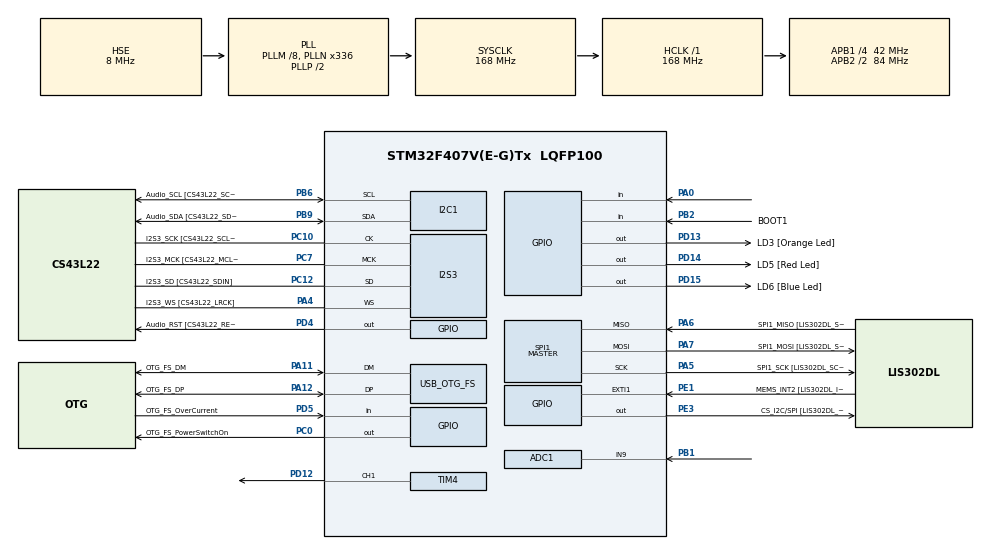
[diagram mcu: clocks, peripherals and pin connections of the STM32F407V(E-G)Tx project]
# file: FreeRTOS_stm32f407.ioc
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ADC1.Channel-0\#ChannelRegularConversion=ADC_CHANNEL_9
ADC1.Channel-1\#ChannelInjectedConversion=ADC_CHANNEL_9
ADC1.ContinuousConvMode=ENABLE
ADC1.InjNumberOfConversion=1
ADC1.InjectedOffset-1\#ChannelInjectedConversion=0
ADC1.InjectedRank-1\#ChannelInjectedConversion=1
ADC1.NbrOfConversionFlag=1
ADC1.Rank-0\#ChannelRegularConversion=1
ADC1.SamplingTime-0\#ChannelRegularConversion=ADC_SAMPLETIME_3CYCLES
ADC1.SamplingTime-1\#ChannelInjectedConversion=ADC_SAMPLETIME_3CYCLES
ADC1.master=1
FREERTOS.BinarySemaphores01=BtnSem,Static,BtnSemControlBlock
FREERTOS.Queues01=UARTQueue,10,QUEUE_t,0,Static,UARTQueueBuffer,UARTQueueControlBlock
FREERTOS.Tasks01=defaultTask,24,128,StartDefaultTask,Default,NULL,Static,defaultTaskBuffer,defaultTaskControlBlock;LED_BLUE_BLINK,24,128,StartLED_BLUE_BLINK,Default,NULL,Static,LED_BLUE_BLINKBuffer,LED_BLUE_BLINKControlBlock;LED_YELLOW_ADC,24,128,StartLED_YELLOW_ADC,Default,NULL,Static,LED_YELLOW_TaskBuffer,LED_YELLOW_TaskControlBlock;UART_Task,24,1024,StartUART_Task,Default,NULL,Static,UART_TaskBuffer,UART_TaskControlBlock;ADC_Task,24,128,StartADC_Task,Default,NULL,Static,ADC_TaskBuffer,ADC_TaskControlBlock;TeadBtn_Task,24,1024,StartTeadBtn_Task,Default,NULL,Static,TeadBtn_TaskBuffer,TeadBtn_TaskControlBlock;ShowResources,24,1024,StartShowResources,Default,NULL,Dynamic,NULL,NULL
FREERTOS.configCHECK_FOR_STACK_OVERFLOW=1
FREERTOS.configGENERATE_RUN_TIME_STATS=1
FREERTOS.configUSE_APPLICATION_TASK_TAG=1
FREERTOS.configUSE_CO_ROUTINES=1
FREERTOS.configUSE_NEWLIB_REENTRANT=1
FREERTOS.configUSE_STATS_FORMATTING_FUNCTIONS=1
I2S3.AudioFreq-Half_Duplex_Master=I2S_AUDIOFREQ_96K
I2S3.ErrorAudioFreq=-2.34 %
I2S3.ErrorAudioFreq-Half_Duplex_Master=0.8 %
I2S3.FullDuplexMode=I2S_FULLDUPLEXMODE_DISABLE
I2S3.Instance=SPI$Index
I2S3.RealAudioFreq=93.75 KHz
I2S3.RealAudioFreq-Half_Duplex_Master=96.774 KHz
I2S3.VirtualMode=I2S_MODE_MASTER
Mcu.Family=STM32F4
Mcu.Name=STM32F407V(E-G)Tx
Mcu.Package=LQFP100
NVIC.OTG_FS_IRQn=true\:5\:0\:false\:false\:true\:true\:true\:true
NVIC.PriorityGroup=NVIC_PRIORITYGROUP_4
NVIC.TIM2_IRQn=true\:15\:0\:false\:false\:true\:false\:false\:true
NVIC.TIM3_IRQn=true\:5\:0\:false\:false\:true\:true\:true\:true
NVIC.TimeBase=TIM2_IRQn
NVIC.TimeBaseIP=TIM2
PA0-WKUP.Signal=GPIO_Input
PA10.GPIO_Label=OTG_FS_ID
PA10.GPIO_Mode=GPIO_MODE_AF_PP
PA10.GPIO_PuPd=GPIO_NOPULL
PA10.GPIO_Speed=GPIO_SPEED_FREQ_LOW
PA10.Signal=USB_OTG_FS_ID
PA11.GPIO_Label=OTG_FS_DM
PA11.GPIO_Mode=GPIO_MODE_AF_PP
PA11.GPIO_PuPd=GPIO_NOPULL
PA11.GPIO_Speed=GPIO_SPEED_FREQ_LOW
PA11.Mode=Device_Only
PA11.Signal=USB_OTG_FS_DM
PA12.GPIO_Label=OTG_FS_DP
PA12.GPIO_Mode=GPIO_MODE_AF_PP
PA12.GPIO_PuPd=GPIO_NOPULL
PA12.GPIO_Speed=GPIO_SPEED_FREQ_LOW
PA12.Mode=Device_Only
PA12.Signal=USB_OTG_FS_DP
PA13.GPIO_Label=SWDIO
PA13.Mode=Serial_Wire
PA13.Signal=SYS_JTMS-SWDIO
PA14.GPIO_Label=SWCLK
PA14.Mode=Serial_Wire
PA14.Signal=SYS_JTCK-SWCLK
PA4.GPIO_Label=I2S3_WS [CS43L22_LRCK]
PA4.GPIO_Mode=GPIO_MODE_AF_PP
PA4.GPIO_PuPd=GPIO_NOPULL
PA4.GPIO_Speed=GPIO_SPEED_FREQ_LOW
PA4.Mode=Half_Duplex_Master
PA4.Signal=I2S3_WS
PA5.GPIO_Label=SPI1_SCK [LIS302DL_SCL/SPC]
PA5.GPIO_Mode=GPIO_MODE_AF_PP
PA5.GPIO_PuPd=GPIO_NOPULL
PA5.GPIO_Speed=GPIO_SPEED_FREQ_LOW
PA5.Mode=Full_Duplex_Master
PA5.Signal=SPI1_SCK
PA6.GPIO_Label=SPI1_MISO [LIS302DL_SDO]
PA6.GPIO_Mode=GPIO_MODE_AF_PP
PA6.GPIO_PuPd=GPIO_NOPULL
PA6.GPIO_Speed=GPIO_SPEED_FREQ_LOW
PA6.Mode=Full_Duplex_Master
PA6.Signal=SPI1_MISO
PA7.GPIO_Label=SPI1_MOSI [LIS302DL_SDA/SDI/SDO]
PA7.GPIO_Mode=GPIO_MODE_AF_PP
PA7.GPIO_PuPd=GPIO_NOPULL
PA7.GPIO_Speed=GPIO_SPEED_FREQ_LOW
PA7.Mode=Full_Duplex_Master
PA7.Signal=SPI1_MOSI
PA9.GPIO_Label=VBUS_FS
PA9.GPIO_Mode=GPIO_MODE_INPUT
PA9.GPIO_PuPd=GPIO_NOPULL
PA9.Signal=USB_OTG_FS_VBUS
PB1.Signal=ADCx_IN9
PB10.GPIO_Label=CLK_IN [MP45DT02_CLK]
PB10.GPIO_Mode=GPIO_MODE_AF_PP
PB10.GPIO_PuPd=GPIO_NOPULL
PB10.GPIO_Speed=GPIO_SPEED_FREQ_LOW
PB10.Signal=I2S2_CK
PB2.GPIO_Label=BOOT1
PB2.GPIO_Mode=GPIO_MODE_INPUT
PB2.GPIO_PuPd=GPIO_NOPULL
PB2.Signal=GPIO_Input
PB3.GPIO_Label=SWO
PB3.Signal=SYS_JTDO-SWO
PB6.GPIO_Label=Audio_SCL [CS43L22_SCL]
PB6.GPIO_Mode=GPIO_MODE_AF_OD
PB6.GPIO_Pu=GPIO_PULLUP
PB6.GPIO_PuPd=GPIO_NOPULL
PB6.GPIO_Speed=GPIO_SPEED_FREQ_LOW
PB6.Mode=I2C
PB6.Signal=I2C1_SCL
PB9.GPIO_Label=Audio_SDA [CS43L22_SDA]
PB9.GPIO_Mode=GPIO_MODE_AF_OD
PB9.GPIO_Pu=GPIO_PULLUP
PB9.GPIO_PuPd=GPIO_NOPULL
PB9.GPIO_Speed=GPIO_SPEED_FREQ_LOW
PB9.Mode=I2C
PB9.Signal=I2C1_SDA
PC0.GPIO_Label=OTG_FS_PowerSwitchOn
PC0.GPIO_PuPd=GPIO_NOPULL
PC0.GPIO_Speed=GPIO_SPEED_FREQ_LOW
PC0.PinState=GPIO_PIN_SET
PC0.Signal=GPIO_Output
PC10.GPIO_Label=I2S3_SCK [CS43L22_SCLK]
PC10.GPIO_Mode=GPIO_MODE_AF_PP
PC10.GPIO_PuPd=GPIO_NOPULL
PC10.GPIO_Speed=GPIO_SPEED_FREQ_LOW
PC10.Mode=Half_Duplex_Master
PC10.Signal=I2S3_CK
PC12.GPIO_Label=I2S3_SD [CS43L22_SDIN]
PC12.GPIO_Mode=GPIO_MODE_AF_PP
PC12.GPIO_PuPd=GPIO_NOPULL
PC12.GPIO_Speed=GPIO_SPEED_FREQ_LOW
PC12.Mode=Half_Duplex_Master
PC12.Signal=I2S3_SD
PC14-OSC32_IN.GPIO_Label=PC14-OSC32_IN
PC14-OSC32_IN.Mode=LSE-External-Oscillator
PC14-OSC32_IN.Signal=RCC_OSC32_IN
PC15-OSC32_OUT.GPIO_Label=PC15-OSC32_OUT
PC15-OSC32_OUT.Mode=LSE-External-Oscillator
PC15-OSC32_OUT.Signal=RCC_OSC32_OUT
PC3.GPIO_Label=PDM_OUT [MP45DT02_DOUT]
PC3.GPIO_Mode=GPIO_MODE_AF_PP
PC3.GPIO_PuPd=GPIO_NOPULL
PC3.GPIO_Speed=GPIO_SPEED_FREQ_LOW
PC3.Signal=I2S2_SD
PC7.GPIO_Label=I2S3_MCK [CS43L22_MCLK]
PC7.GPIO_Mode=GPIO_MODE_AF_PP
PC7.GPIO_PuPd=GPIO_NOPULL
PC7.GPIO_Speed=GPIO_SPEED_FREQ_LOW
PC7.Mode=Master_Clock_Activated
PC7.Signal=I2S3_MCK
PD12.Signal=S_TIM4_CH1
PD13.GPIO_Label=LD3 [Orange Led]
PD13.GPIO_PuPd=GPIO_NOPULL
PD13.GPIO_Speed=GPIO_SPEED_FREQ_LOW
PD13.Signal=GPIO_Output
PD14.GPIO_Label=LD5 [Red Led]
PD14.GPIO_PuPd=GPIO_NOPULL
PD14.GPIO_Speed=GPIO_SPEED_FREQ_LOW
PD14.Signal=GPIO_Output
PD15.GPIO_Label=LD6 [Blue Led]
PD15.GPIO_PuPd=GPIO_NOPULL
PD15.GPIO_Speed=GPIO_SPEED_FREQ_LOW
PD15.Signal=GPIO_Output
PD4.GPIO_Label=Audio_RST [CS43L22_RESET]
PD4.GPIO_PuPd=GPIO_NOPULL
PD4.GPIO_Speed=GPIO_SPEED_FREQ_LOW
PD4.Signal=GPIO_Output
PD5.GPIO_Label=OTG_FS_OverCurrent
PD5.GPIO_Mode=GPIO_MODE_INPUT
PD5.GPIO_PuPd=GPIO_NOPULL
PD5.Signal=GPIO_Input
PE1.GPIO_Label=MEMS_INT2 [LIS302DL_INT2]
PE1.GPIO_ModeDefaultEXTI=GPIO_MODE_EVT_RISING
PE1.GPIO_PuPd=GPIO_NOPULL
PE1.Signal=GPXTI1
PE3.GPIO_Label=CS_I2C/SPI [LIS302DL_CS_I2C/SPI]
PE3.GPIO_PuPd=GPIO_NOPULL
PE3.GPIO_Speed=GPIO_SPEED_FREQ_LOW
PE3.Signal=GPIO_Output
PH0-OSC_IN.GPIO_Label=PH0-OSC_IN
PH0-OSC_IN.Mode=HSE-External-Oscillator
PH0-OSC_IN.Signal=RCC_OSC_IN
PH1-OSC_OUT.GPIO_Label=PH1-OSC_OUT
PH1-OSC_OUT.Mode=HSE-External-Oscillator
PH1-OSC_OUT.Signal=RCC_OSC_OUT
ProjectManager.HeapSize=0x200
ProjectManager.StackSize=0x400
ProjectManager.TargetToolchain=STM32CubeIDE
RCC.48MHZClocksFreq_Value=48000000
RCC.AHBFreq_Value=168000000
RCC.APB1CLKDivider=RCC_HCLK_DIV4
RCC.APB1Freq_Value=42000000
RCC.APB1TimFreq_Value=84000000
RCC.APB2CLKDivider=RCC_HCLK_DIV2
RCC.APB2Freq_Value=84000000
RCC.APB2TimFreq_Value=168000000
RCC.CortexFreq_Value=168000000
RCC.HCLKFreq_Value=168000000
RCC.HSE_VALUE=8000000
RCC.HSI_VALUE=16000000
RCC.PLLM=8
RCC.PLLN=336
RCC.PLLQ=7
RCC.SYSCLKFreq_VALUE=168000000
RCC.SYSCLKSource=RCC_SYSCLKSOURCE_PLLCLK
RCC.VCOOutputFreq_Value=336000000
SH.ADCx_IN9.0=ADC1_IN9,IN9
SH.S_TIM4_CH1.0=TIM4_CH1,PWM Generation1 CH1
SPI1.BaudRatePrescaler-Full_Duplex_Master=SPI_BAUDRATEPRESCALER_2
SPI1.CalculateBaudRate-Full_Duplex_Master=42.0 MBits/s
SPI1.Direction=SPI_DIRECTION_2LINES
SPI1.Mode=SPI_MODE_MASTER
SPI1.Mode-Full_Duplex_Master=SPI_MODE_MASTER
SPI1.VirtualType=VM_MASTER
TIM3.AutoReloadPreload=TIM_AUTORELOAD_PRELOAD_ENABLE
TIM3.Period=10
TIM3.Prescaler=420
TIM4.AutoReloadPreload=TIM_AUTORELOAD_PRELOAD_ENABLE
TIM4.Channel-PWM\ Generation1\ CH1=TIM_CHANNEL_1
TIM4.Period=4095
TIM4.Prescaler=300
TIM4.TIM_MasterOutputTrigger=TIM_TRGO_ENABLE
USB_DEVICE.CLASS_NAME_FS=CDC
USB_DEVICE.VirtualMode-CDC_FS=Cdc
USB_DEVICE.VirtualModeFS=Cdc_FS
USB_OTG_FS.VirtualMode=Device_Only
VP_FREERTOS_VS_CMSIS_V2.Mode=CMSIS_V2
VP_SYS_VS_tim2.Mode=TIM2
VP_TIM3_VS_ClockSourceINT.Mode=Internal
VP_USB_DEVICE_VS_USB_DEVICE_CDC_FS.Mode=CDC_FS
board=STM32F407G-DISC1

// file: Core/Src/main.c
/* USER CODE BEGIN Header */
/**
  ******************************************************************************
  * @file           : main.c
  * @brief          : Main program body
  ******************************************************************************
  * @attention
  *
  * <h2><center>&copy; Copyright (c) 2021 STMicroelectronics.
  * All rights reserved.</center></h2>
  *
  * This software component is licensed by ST under Ultimate Liberty license
  * SLA0044, the "License"; You may not use this file except in compliance with
  * the License. You may obtain a copy of the License at:
  *                             www.st.com/SLA0044
  *
  ******************************************************************************
  */
/* USER CODE END Header */
#include "main.h"
#include "cmsis_os.h"
#include "usb_device.h"
#include "usb_device.h"

/* USER CODE BEGIN Includes */
#include "string.h"
#include "usbd_cdc_if.h"
#include "task.h"
/* USER CODE END Includes */

typedef StaticTask_t osStaticThreadDef_t;
typedef StaticQueue_t osStaticMessageQDef_t;
typedef StaticSemaphore_t osStaticSemaphoreDef_t;
/* USER CODE BEGIN PTD */

typedef struct 							//Queue
{
	char Buf[1024];
}QUEUE_t;

volatile unsigned long ulHighFreqebcyTimerTicks;		// This variable using for calculate how many time all tasks was running.

/* USER CODE END PTD */

/* USER CODE BEGIN PM */
char str_management_memory_str[1000] = {0};
int freemem = 0;
/* USER CODE END PM */

ADC_HandleTypeDef hadc1;

I2C_HandleTypeDef hi2c1;

I2S_HandleTypeDef hi2s3;

SPI_HandleTypeDef hspi1;

TIM_HandleTypeDef htim3;
TIM_HandleTypeDef htim4;

/* Definitions for defaultTask */
osThreadId_t defaultTaskHandle;
uint32_t defaultTaskBuffer[ 128 ];
osStaticThreadDef_t defaultTaskControlBlock;
const osThreadAttr_t defaultTask_attributes = {
  .name = "defaultTask",
  .cb_mem = &defaultTaskControlBlock,
  .cb_size = sizeof(defaultTaskControlBlock),
  .stack_mem = &defaultTaskBuffer[0],
  .stack_size = sizeof(defaultTaskBuffer),
  .priority = (osPriority_t) osPriorityNormal,
};
/* Definitions for LED_BLUE_BLINK */
osThreadId_t LED_BLUE_BLINKHandle;
uint32_t LED_BLUE_BLINKBuffer[ 128 ];
osStaticThreadDef_t LED_BLUE_BLINKControlBlock;
const osThreadAttr_t LED_BLUE_BLINK_attributes = {
  .name = "LED_BLUE_BLINK",
  .cb_mem = &LED_BLUE_BLINKControlBlock,
  .cb_size = sizeof(LED_BLUE_BLINKControlBlock),
  .stack_mem = &LED_BLUE_BLINKBuffer[0],
  .stack_size = sizeof(LED_BLUE_BLINKBuffer),
  .priority = (osPriority_t) osPriorityNormal,
};
/* Definitions for LED_YELLOW_ADC */
osThreadId_t LED_YELLOW_ADCHandle;
uint32_t LED_YELLOW_TaskBuffer[ 128 ];
osStaticThreadDef_t LED_YELLOW_TaskControlBlock;
const osThreadAttr_t LED_YELLOW_ADC_attributes = {
  .name = "LED_YELLOW_ADC",
  .cb_mem = &LED_YELLOW_TaskControlBlock,
  .cb_size = sizeof(LED_YELLOW_TaskControlBlock),
  .stack_mem = &LED_YELLOW_TaskBuffer[0],
  .stack_size = sizeof(LED_YELLOW_TaskBuffer),
  .priority = (osPriority_t) osPriorityNormal,
};
/* Definitions for UART_Task */
osThreadId_t UART_TaskHandle;
uint32_t UART_TaskBuffer[ 1024 ];
osStaticThreadDef_t UART_TaskControlBlock;
const osThreadAttr_t UART_Task_attributes = {
  .name = "UART_Task",
  .cb_mem = &UART_TaskControlBlock,
  .cb_size = sizeof(UART_TaskControlBlock),
  .stack_mem = &UART_TaskBuffer[0],
  .stack_size = sizeof(UART_TaskBuffer),
  .priority = (osPriority_t) osPriorityNormal,
};
/* Definitions for ADC_Task */
osThreadId_t ADC_TaskHandle;
uint32_t ADC_TaskBuffer[ 128 ];
osStaticThreadDef_t ADC_TaskControlBlock;
const osThreadAttr_t ADC_Task_attributes = {
  .name = "ADC_Task",
  .cb_mem = &ADC_TaskControlBlock,
  .cb_size = sizeof(ADC_TaskControlBlock),
  .stack_mem = &ADC_TaskBuffer[0],
  .stack_size = sizeof(ADC_TaskBuffer),
  .priority = (osPriority_t) osPriorityNormal,
};
/* Definitions for TeadBtn_Task */
osThreadId_t TeadBtn_TaskHandle;
uint32_t TeadBtn_TaskBuffer[ 1024 ];
osStaticThreadDef_t TeadBtn_TaskControlBlock;
const osThreadAttr_t TeadBtn_Task_attributes = {
  .name = "TeadBtn_Task",
  .cb_mem = &TeadBtn_TaskControlBlock,
  .cb_size = sizeof(TeadBtn_TaskControlBlock),
  .stack_mem = &TeadBtn_TaskBuffer[0],
  .stack_size = sizeof(TeadBtn_TaskBuffer),
  .priority = (osPriority_t) osPriorityNormal,
};
/* Definitions for ShowResources */
osThreadId_t ShowResourcesHandle;
const osThreadAttr_t ShowResources_attributes = {
  .name = "ShowResources",
  .stack_size = 1024 * 4,
  .priority = (osPriority_t) osPriorityNormal,
};
/* Definitions for UARTQueue */
osMessageQueueId_t UARTQueueHandle;
uint8_t UARTQueueBuffer[ 10 * sizeof( QUEUE_t ) ];
osStaticMessageQDef_t UARTQueueControlBlock;
const osMessageQueueAttr_t UARTQueue_attributes = {
  .name = "UARTQueue",
  .cb_mem = &UARTQueueControlBlock,
  .cb_size = sizeof(UARTQueueControlBlock),
  .mq_mem = &UARTQueueBuffer,
  .mq_size = sizeof(UARTQueueBuffer)
};
/* Definitions for BtnSem */
osSemaphoreId_t BtnSemHandle;
osStaticSemaphoreDef_t BtnSemControlBlock;
const osSemaphoreAttr_t BtnSem_attributes = {
  .name = "BtnSem",
  .cb_mem = &BtnSemControlBlock,
  .cb_size = sizeof(BtnSemControlBlock),
};

void SystemClock_Config(void);
static void MX_GPIO_Init(void);
static void MX_I2C1_Init(void);
static void MX_I2S3_Init(void);
static void MX_SPI1_Init(void);
static void MX_ADC1_Init(void);
static void MX_TIM4_Init(void);
static void MX_TIM3_Init(void);
void StartDefaultTask(void *argument);
void StartLED_BLUE_BLINK(void *argument);
void StartLED_YELLOW_ADC(void *argument);
void StartUART_Task(void *argument);
void StartADC_Task(void *argument);
void StartTeadBtn_Task(void *argument);
void StartShowResources(void *argument);

int main(void)
{

  /* MCU Configuration--------------------------------------------------------*/

  /* Reset of all peripherals, Initializes the Flash interface and the Systick. */
  HAL_Init();

  /* Configure the system clock */
  SystemClock_Config();

  /* Initialize all configured peripherals */
  MX_GPIO_Init();
  MX_I2C1_Init();
  MX_I2S3_Init();
  MX_SPI1_Init();
  MX_ADC1_Init();
  MX_TIM4_Init();
  MX_TIM3_Init();
  /* USER CODE BEGIN 2 */
  HAL_ADC_Start(&hadc1);
  HAL_TIM_PWM_Start(&htim4, TIM_CHANNEL_1);

  HAL_TIM_Base_Start_IT(&htim3);		//  This TIM3 using for calculate how many time all tasks was running.
  //HAL_TIM_Base_Start(&htim3);

  /* USER CODE END 2 */

  /* Init scheduler */
  osKernelInitialize();

  /* Create the semaphores(s) */
  /* creation of BtnSem */
  BtnSemHandle = osSemaphoreNew(1, 1, &BtnSem_attributes);

  /* Create the queue(s) */
  /* creation of UARTQueue */
  UARTQueueHandle = osMessageQueueNew (10, sizeof(QUEUE_t), &UARTQueue_attributes);

  /* Create the thread(s) */
  /* creation of defaultTask */
  defaultTaskHandle = osThreadNew(StartDefaultTask, NULL, &defaultTask_attributes);

  /* creation of LED_BLUE_BLINK */
  LED_BLUE_BLINKHandle = osThreadNew(StartLED_BLUE_BLINK, NULL, &LED_BLUE_BLINK_attributes);

  /* creation of LED_YELLOW_ADC */
  LED_YELLOW_ADCHandle = osThreadNew(StartLED_YELLOW_ADC, NULL, &LED_YELLOW_ADC_attributes);

  /* creation of UART_Task */
  UART_TaskHandle = osThreadNew(StartUART_Task, NULL, &UART_Task_attributes);

  /* creation of ADC_Task */
  ADC_TaskHandle = osThreadNew(StartADC_Task, NULL, &ADC_Task_attributes);

  /* creation of TeadBtn_Task */
  TeadBtn_TaskHandle = osThreadNew(StartTeadBtn_Task, NULL, &TeadBtn_Task_attributes);

  /* creation of ShowResources */
  ShowResourcesHandle = osThreadNew(StartShowResources, NULL, &ShowResources_attributes);

  /* Start scheduler */
  osKernelStart();

  /* We should never get here as control is now taken by the scheduler */
  /* Infinite loop */
  while (1)
  {

  }
}

void SystemClock_Config(void)
{
  RCC_OscInitTypeDef RCC_OscInitStruct = {0};
  RCC_ClkInitTypeDef RCC_ClkInitStruct = {0};

  /** Configure the main internal regulator output voltage
  */
  __HAL_RCC_PWR_CLK_ENABLE();
  __HAL_PWR_VOLTAGESCALING_CONFIG(PWR_REGULATOR_VOLTAGE_SCALE1);
  /** Initializes the RCC Oscillators according to the specified parameters
  * in the RCC_OscInitTypeDef structure.
  */
  RCC_OscInitStruct.OscillatorType = RCC_OSCILLATORTYPE_HSE;
  RCC_OscInitStruct.HSEState = RCC_HSE_ON;
  RCC_OscInitStruct.PLL.PLLState = RCC_PLL_ON;
  RCC_OscInitStruct.PLL.PLLSource = RCC_PLLSOURCE_HSE;
  RCC_OscInitStruct.PLL.PLLM = 8;
  RCC_OscInitStruct.PLL.PLLN = 336;
  RCC_OscInitStruct.PLL.PLLP = RCC_PLLP_DIV2;
  RCC_OscInitStruct.PLL.PLLQ = 7;
  if (HAL_RCC_OscConfig(&RCC_OscInitStruct) != HAL_OK)
  {
    Error_Handler();
  }
  /** Initializes the CPU, AHB and APB buses clocks
  */
  RCC_ClkInitStruct.ClockType = RCC_CLOCKTYPE_HCLK|RCC_CLOCKTYPE_SYSCLK
                              |RCC_CLOCKTYPE_PCLK1|RCC_CLOCKTYPE_PCLK2;
  RCC_ClkInitStruct.SYSCLKSource = RCC_SYSCLKSOURCE_PLLCLK;
  RCC_ClkInitStruct.AHBCLKDivider = RCC_SYSCLK_DIV1;
  RCC_ClkInitStruct.APB1CLKDivider = RCC_HCLK_DIV4;
  RCC_ClkInitStruct.APB2CLKDivider = RCC_HCLK_DIV2;

  if (HAL_RCC_ClockConfig(&RCC_ClkInitStruct, FLASH_LATENCY_5) != HAL_OK)
  {
    Error_Handler();
  }
}

static void MX_ADC1_Init(void)
{

  ADC_ChannelConfTypeDef sConfig = {0};
  ADC_InjectionConfTypeDef sConfigInjected = {0};

  /** Configure the global features of the ADC (Clock, Resolution, Data Alignment and number of conversion)
  */
  hadc1.Instance = ADC1;
  hadc1.Init.ClockPrescaler = ADC_CLOCK_SYNC_PCLK_DIV4;
  hadc1.Init.Resolution = ADC_RESOLUTION_12B;
  hadc1.Init.ScanConvMode = DISABLE;
  hadc1.Init.ContinuousConvMode = ENABLE;
  hadc1.Init.DiscontinuousConvMode = DISABLE;
  hadc1.Init.ExternalTrigConvEdge = ADC_EXTERNALTRIGCONVEDGE_NONE;
  hadc1.Init.ExternalTrigConv = ADC_SOFTWARE_START;
  hadc1.Init.DataAlign = ADC_DATAALIGN_RIGHT;
  hadc1.Init.NbrOfConversion = 1;
  hadc1.Init.DMAContinuousRequests = DISABLE;
  hadc1.Init.EOCSelection = ADC_EOC_SINGLE_CONV;
  if (HAL_ADC_Init(&hadc1) != HAL_OK)
  {
    Error_Handler();
  }
  /** Configure for the selected ADC regular channel its corresponding rank in the sequencer and its sample time.
  */
  sConfig.Channel = ADC_CHANNEL_9;
  sConfig.Rank = 1;
  sConfig.SamplingTime = ADC_SAMPLETIME_3CYCLES;
  if (HAL_ADC_ConfigChannel(&hadc1, &sConfig) != HAL_OK)
  {
    Error_Handler();
  }
  /** Configures for the selected ADC injected channel its corresponding rank in the sequencer and its sample time
  */
  sConfigInjected.InjectedChannel = ADC_CHANNEL_9;
  sConfigInjected.InjectedRank = 1;
  sConfigInjected.InjectedNbrOfConversion = 1;
  sConfigInjected.InjectedSamplingTime = ADC_SAMPLETIME_3CYCLES;
  sConfigInjected.ExternalTrigInjecConvEdge = ADC_EXTERNALTRIGINJECCONVEDGE_NONE;
  sConfigInjected.ExternalTrigInjecConv = ADC_INJECTED_SOFTWARE_START;
  sConfigInjected.AutoInjectedConv = DISABLE;
  sConfigInjected.InjectedDiscontinuousConvMode = DISABLE;
  sConfigInjected.InjectedOffset = 0;
  if (HAL_ADCEx_InjectedConfigChannel(&hadc1, &sConfigInjected) != HAL_OK)
  {
    Error_Handler();
  }

}

static void MX_I2C1_Init(void)
{

  hi2c1.Instance = I2C1;
  hi2c1.Init.ClockSpeed = 100000;
  hi2c1.Init.DutyCycle = I2C_DUTYCYCLE_2;
  hi2c1.Init.OwnAddress1 = 0;
  hi2c1.Init.AddressingMode = I2C_ADDRESSINGMODE_7BIT;
  hi2c1.Init.DualAddressMode = I2C_DUALADDRESS_DISABLE;
  hi2c1.Init.OwnAddress2 = 0;
  hi2c1.Init.GeneralCallMode = I2C_GENERALCALL_DISABLE;
  hi2c1.Init.NoStretchMode = I2C_NOSTRETCH_DISABLE;
  if (HAL_I2C_Init(&hi2c1) != HAL_OK)
  {
    Error_Handler();
  }

}

static void MX_I2S3_Init(void)
{

  hi2s3.Instance = SPI3;
  hi2s3.Init.Mode = I2S_MODE_MASTER_TX;
  hi2s3.Init.Standard = I2S_STANDARD_PHILIPS;
  hi2s3.Init.DataFormat = I2S_DATAFORMAT_16B;
  hi2s3.Init.MCLKOutput = I2S_MCLKOUTPUT_ENABLE;
  hi2s3.Init.AudioFreq = I2S_AUDIOFREQ_96K;
  hi2s3.Init.CPOL = I2S_CPOL_LOW;
  hi2s3.Init.ClockSource = I2S_CLOCK_PLL;
  hi2s3.Init.FullDuplexMode = I2S_FULLDUPLEXMODE_DISABLE;
  if (HAL_I2S_Init(&hi2s3) != HAL_OK)
  {
    Error_Handler();
  }

}

static void MX_SPI1_Init(void)
{

  /* SPI1 parameter configuration*/
  hspi1.Instance = SPI1;
  hspi1.Init.Mode = SPI_MODE_MASTER;
  hspi1.Init.Direction = SPI_DIRECTION_2LINES;
  hspi1.Init.DataSize = SPI_DATASIZE_8BIT;
  hspi1.Init.CLKPolarity = SPI_POLARITY_LOW;
  hspi1.Init.CLKPhase = SPI_PHASE_1EDGE;
  hspi1.Init.NSS = SPI_NSS_SOFT;
  hspi1.Init.BaudRatePrescaler = SPI_BAUDRATEPRESCALER_2;
  hspi1.Init.FirstBit = SPI_FIRSTBIT_MSB;
  hspi1.Init.TIMode = SPI_TIMODE_DISABLE;
  hspi1.Init.CRCCalculation = SPI_CRCCALCULATION_DISABLE;
  hspi1.Init.CRCPolynomial = 10;
  if (HAL_SPI_Init(&hspi1) != HAL_OK)
  {
    Error_Handler();
  }

}

static void MX_TIM3_Init(void)
{

  TIM_ClockConfigTypeDef sClockSourceConfig = {0};
  TIM_MasterConfigTypeDef sMasterConfig = {0};

  htim3.Instance = TIM3;
  htim3.Init.Prescaler = 420;
  htim3.Init.CounterMode = TIM_COUNTERMODE_UP;
  htim3.Init.Period = 10;
  htim3.Init.ClockDivision = TIM_CLOCKDIVISION_DIV1;
  htim3.Init.AutoReloadPreload = TIM_AUTORELOAD_PRELOAD_ENABLE;
  if (HAL_TIM_Base_Init(&htim3) != HAL_OK)
  {
    Error_Handler();
  }
  sClockSourceConfig.ClockSource = TIM_CLOCKSOURCE_INTERNAL;
  if (HAL_TIM_ConfigClockSource(&htim3, &sClockSourceConfig) != HAL_OK)
  {
    Error_Handler();
  }
  sMasterConfig.MasterOutputTrigger = TIM_TRGO_RESET;
  sMasterConfig.MasterSlaveMode = TIM_MASTERSLAVEMODE_DISABLE;
  if (HAL_TIMEx_MasterConfigSynchronization(&htim3, &sMasterConfig) != HAL_OK)
  {
    Error_Handler();
  }

}

static void MX_TIM4_Init(void)
{

  TIM_MasterConfigTypeDef sMasterConfig = {0};
  TIM_OC_InitTypeDef sConfigOC = {0};

  htim4.Instance = TIM4;
  htim4.Init.Prescaler = 300;
  htim4.Init.CounterMode = TIM_COUNTERMODE_UP;
  htim4.Init.Period = 4095;
  htim4.Init.ClockDivision = TIM_CLOCKDIVISION_DIV1;
  htim4.Init.AutoReloadPreload = TIM_AUTORELOAD_PRELOAD_ENABLE;
  if (HAL_TIM_PWM_Init(&htim4) != HAL_OK)
  {
    Error_Handler();
  }
  sMasterConfig.MasterOutputTrigger = TIM_TRGO_ENABLE;
  sMasterConfig.MasterSlaveMode = TIM_MASTERSLAVEMODE_DISABLE;
  if (HAL_TIMEx_MasterConfigSynchronization(&htim4, &sMasterConfig) != HAL_OK)
  {
    Error_Handler();
  }
  sConfigOC.OCMode = TIM_OCMODE_PWM1;
  sConfigOC.Pulse = 0;
  sConfigOC.OCPolarity = TIM_OCPOLARITY_HIGH;
  sConfigOC.OCFastMode = TIM_OCFAST_DISABLE;
  if (HAL_TIM_PWM_ConfigChannel(&htim4, &sConfigOC, TIM_CHANNEL_1) != HAL_OK)
  {
    Error_Handler();
  }
  HAL_TIM_MspPostInit(&htim4);

}

static void MX_GPIO_Init(void)
{
  GPIO_InitTypeDef GPIO_InitStruct = {0};

  /* GPIO Ports Clock Enable */
  __HAL_RCC_GPIOE_CLK_ENABLE();
  __HAL_RCC_GPIOC_CLK_ENABLE();
  __HAL_RCC_GPIOH_CLK_ENABLE();
  __HAL_RCC_GPIOA_CLK_ENABLE();
  __HAL_RCC_GPIOB_CLK_ENABLE();
  __HAL_RCC_GPIOD_CLK_ENABLE();

  /*Configure GPIO pin Output Level */
  HAL_GPIO_WritePin(CS_I2C_SPI_GPIO_Port, CS_I2C_SPI_Pin, GPIO_PIN_RESET);

  /*Configure GPIO pin Output Level */
  HAL_GPIO_WritePin(OTG_FS_PowerSwitchOn_GPIO_Port, OTG_FS_PowerSwitchOn_Pin, GPIO_PIN_SET);

  /*Configure GPIO pin Output Level */
  HAL_GPIO_WritePin(GPIOD, LD3_Pin|LD5_Pin|LD6_Pin|Audio_RST_Pin, GPIO_PIN_RESET);

  /*Configure GPIO pin : CS_I2C_SPI_Pin */
  GPIO_InitStruct.Pin = CS_I2C_SPI_Pin;
  GPIO_InitStruct.Mode = GPIO_MODE_OUTPUT_PP;
  GPIO_InitStruct.Pull = GPIO_NOPULL;
  GPIO_InitStruct.Speed = GPIO_SPEED_FREQ_LOW;
  HAL_GPIO_Init(CS_I2C_SPI_GPIO_Port, &GPIO_InitStruct);

  /*Configure GPIO pin : OTG_FS_PowerSwitchOn_Pin */
  GPIO_InitStruct.Pin = OTG_FS_PowerSwitchOn_Pin;
  GPIO_InitStruct.Mode = GPIO_MODE_OUTPUT_PP;
  GPIO_InitStruct.Pull = GPIO_NOPULL;
  GPIO_InitStruct.Speed = GPIO_SPEED_FREQ_LOW;
  HAL_GPIO_Init(OTG_FS_PowerSwitchOn_GPIO_Port, &GPIO_InitStruct);

  /*Configure GPIO pin : PDM_OUT_Pin */
  GPIO_InitStruct.Pin = PDM_OUT_Pin;
  GPIO_InitStruct.Mode = GPIO_MODE_AF_PP;
  GPIO_InitStruct.Pull = GPIO_NOPULL;
  GPIO_InitStruct.Speed = GPIO_SPEED_FREQ_LOW;
  GPIO_InitStruct.Alternate = GPIO_AF5_SPI2;
  HAL_GPIO_Init(PDM_OUT_GPIO_Port, &GPIO_InitStruct);

  /*Configure GPIO pin : PA0 */
  GPIO_InitStruct.Pin = GPIO_PIN_0;
  GPIO_InitStruct.Mode = GPIO_MODE_INPUT;
  GPIO_InitStruct.Pull = GPIO_NOPULL;
  HAL_GPIO_Init(GPIOA, &GPIO_InitStruct);

  /*Configure GPIO pin : BOOT1_Pin */
  GPIO_InitStruct.Pin = BOOT1_Pin;
  GPIO_InitStruct.Mode = GPIO_MODE_INPUT;
  GPIO_InitStruct.Pull = GPIO_NOPULL;
  HAL_GPIO_Init(BOOT1_GPIO_Port, &GPIO_InitStruct);

  /*Configure GPIO pin : CLK_IN_Pin */
  GPIO_InitStruct.Pin = CLK_IN_Pin;
  GPIO_InitStruct.Mode = GPIO_MODE_AF_PP;
  GPIO_InitStruct.Pull = GPIO_NOPULL;
  GPIO_InitStruct.Speed = GPIO_SPEED_FREQ_LOW;
  GPIO_InitStruct.Alternate = GPIO_AF5_SPI2;
  HAL_GPIO_Init(CLK_IN_GPIO_Port, &GPIO_InitStruct);

  /*Configure GPIO pins : LD3_Pin LD5_Pin LD6_Pin Audio_RST_Pin */
  GPIO_InitStruct.Pin = LD3_Pin|LD5_Pin|LD6_Pin|Audio_RST_Pin;
  GPIO_InitStruct.Mode = GPIO_MODE_OUTPUT_PP;
  GPIO_InitStruct.Pull = GPIO_NOPULL;
  GPIO_InitStruct.Speed = GPIO_SPEED_FREQ_LOW;
  HAL_GPIO_Init(GPIOD, &GPIO_InitStruct);

  /*Configure GPIO pin : OTG_FS_OverCurrent_Pin */
  GPIO_InitStruct.Pin = OTG_FS_OverCurrent_Pin;
  GPIO_InitStruct.Mode = GPIO_MODE_INPUT;
  GPIO_InitStruct.Pull = GPIO_NOPULL;
  HAL_GPIO_Init(OTG_FS_OverCurrent_GPIO_Port, &GPIO_InitStruct);

  /*Configure GPIO pin : MEMS_INT2_Pin */
  GPIO_InitStruct.Pin = MEMS_INT2_Pin;
  GPIO_InitStruct.Mode = GPIO_MODE_EVT_RISING;
  GPIO_InitStruct.Pull = GPIO_NOPULL;
  HAL_GPIO_Init(MEMS_INT2_GPIO_Port, &GPIO_InitStruct);

}

void StartDefaultTask(void *argument)
{
  /* init code for USB_DEVICE */
  MX_USB_DEVICE_Init();
  /* USER CODE BEGIN 5 */

  /* Infinite loop */
  for(;;)
  {
	// This task make test payload for test
	for(int x = 0; x <= 10000; x++)
	{
	 	x++;
	}

    osDelay(1);
  }
  /* USER CODE END 5 */
}

void StartLED_BLUE_BLINK(void *argument)
{
  /* USER CODE BEGIN StartLED_BLUE_BLINK */
  /* Infinite loop */
  for(;;)
  {
	  HAL_GPIO_WritePin(GPIOD, GPIO_PIN_15, GPIO_PIN_SET);
	  osDelay(100);
	  HAL_GPIO_WritePin(GPIOD, GPIO_PIN_15, GPIO_PIN_RESET);
	  osDelay(900);
  }
  /* USER CODE END StartLED_BLUE_BLINK */
}

void StartLED_YELLOW_ADC(void *argument)
{
  /* USER CODE BEGIN StartLED_YELLOW_ADC */
  /* Infinite loop */
  for(;;)
  {
	  if(osSemaphoreAcquire(BtnSemHandle, osWaitForever) == osOK);							// Waiting on press button. Semaphore
	  {
		  HAL_GPIO_TogglePin(GPIOD, GPIO_PIN_13);
		  osDelay(100);
	  }
	  osDelay(100);
  }
  /* USER CODE END StartLED_YELLOW_ADC */
}

void StartUART_Task(void *argument)
{
  /* USER CODE BEGIN StartUART_Task */
  /* Infinite loop */
	QUEUE_t msg;
  for(;;)
  {
	  // osMessageQueueGet waiting data on a queue (If data are in queue so print it)
	osMessageQueueGet(UARTQueueHandle, &msg, 0, osWaitForever);			// Write for data on queue

	// Counting how many characters will be transmitted
	uint16_t buffer_size = 0;
	while(msg.Buf[buffer_size] != '\0')
	{
		buffer_size ++;
	}
	// Transmit over virtual comport
	CDC_Transmit_FS(msg.Buf, buffer_size);						// Transmit data over virtual comport
    osDelay(1);
  }
  /* USER CODE END StartUART_Task */
}

void StartADC_Task(void *argument)
{
  /* USER CODE BEGIN StartADC_Task */
  /* Infinite loop */
  for(;;)
  {
	  HAL_ADC_Start(&hadc1);
	  uint16_t adc_res = HAL_ADC_GetValue(&hadc1);						// Read Voltage on potentiometer
	  __HAL_TIM_SET_COMPARE(&htim4, TIM_CHANNEL_1, adc_res);			// Set PWM generation
	  osDelay(100);
  }
  /* USER CODE END StartADC_Task */
}

void StartTeadBtn_Task(void *argument)
{
  /* USER CODE BEGIN StartTeadBtn_Task */
  /* Infinite loop */
  QUEUE_t msg;
  for(;;)
  {
	  if(HAL_GPIO_ReadPin(GPIOA, GPIO_PIN_0))
	  {
		  osSemaphoreRelease(BtnSemHandle);									// Set semaphore BtnSemHandle semaphore (FOR TURN ON/OFF YELLOW LED)
		  memset(msg.Buf, 0, sizeof(msg.Buf));								// Fill in buff '\0'
		  strcpy(msg.Buf, "Button pressed!!!\r\n\0");						// Write message
		  osMessageQueuePut(UARTQueueHandle, &msg, 0, osWaitForever);		// Write data on queue
		  osDelay(300);
	  }
	  osDelay(100);
  }
  /* USER CODE END StartTeadBtn_Task */
}

/* USER CODE BEGIN Header_StartShowResources */
/**
* @brief Function implementing the ShowResources thread.
* Virtual COM Port takes list:
*
		######################################␊
		>>>>> Free heap memory: 11040␍␊
		| TASK NAME           | STATUS |   PRIOR⇥	|  STACK  |    NUM  |␊
		ShowResources  ⇥		X⇥			24⇥			612⇥		7␍␊
		defaultTask    ⇥		R⇥			24⇥			58⇥			1␍␊
		IDLE           ⇥		R⇥			0⇥			104⇥		8␍␊
		ADC_Task       ⇥		B⇥			24⇥			89⇥			5␍␊
		LED_BLUE_BLINK ⇥		B⇥			24⇥			90⇥			2␍␊
		TeadBtn_Task   ⇥		B⇥			24⇥			721⇥		6␍␊
		LED_YELLOW_ADC ⇥		B⇥			24⇥			81⇥			3␍␊
		UART_Task      ⇥		B⇥			24⇥			713⇥		4␍␊
		Tmr Svc        ⇥		B⇥			2⇥			215⇥		9␍␊
		-----------------------␊
		␍| TASK NAME           | ABS TIME |   TIME% |␊
		␍ShowResources  ⇥		4524⇥		⇥	<1%␍␊
		 defaultTask    ⇥		4476896⇥	⇥	50%␍␊
		 IDLE           ⇥		4427562⇥	⇥	49%␍␊
		 LED_BLUE_BLINK ⇥		111⇥		⇥	<1%␍␊
		 TeadBtn_Task   ⇥		537⇥		⇥	<1%␍␊
		 ADC_Task       ⇥		652⇥		⇥	<1%␍␊
		 UART_Task      ⇥		267⇥		⇥	<1%␍␊
		 Tmr Svc        ⇥		0⇥			⇥	<1%␍␊
		 LED_YELLOW_ADC ⇥		4⇥			⇥	<1%␍␊
		 ######################################␊
* @param argument: Not used
* @retval None
*/
/* USER CODE END Header_StartShowResources */
void StartShowResources(void *argument)
{
  /* USER CODE BEGIN StartShowResources */
  /* Infinite loop */
  for(;;)
  {
		osDelay(5000);												// Every 5 second task management will print data

		char str_end_of_line[3] = {'\r','\n'};
		char str_sig = '-';
		char buff[10] = {0};

		QUEUE_t msg;												// Make a queue
		memset(msg.Buf, 0, sizeof(msg.Buf));						// Fill in buff '\0'
		strcat(msg.Buf, ">>>>> Free heap memory: ");				// Add string to another (Total heap)

		freemem = xPortGetFreeHeapSize();							// Function return how many free memory.
		itoa(freemem, buff, 10);
		strcat(msg.Buf, buff);
		strcat(msg.Buf, str_end_of_line);

		// add a hat
		strcat(msg.Buf, "| TASK NAME           | STATUS |   PRIOR	|  STACK  |    NUM  |\n\r\0");

		vTaskList(str_management_memory_str);						// Fill in str_management_memory_str array management task information

		// Finding the  end of string
		uint16_t buffer_size = 0;
		while(msg.Buf[buffer_size] != '\0')
		{
			buffer_size ++;
		}

		// Add str_management_memory_str to queue string
		int i = 0;
		for(i = 0; str_management_memory_str[i] != '\0'; i++)
		{
			// add data to queue
			msg.Buf[buffer_size + i] = str_management_memory_str[i];
		}

		// add a hat
		char str_line[] = {"-----------------------\n\r"};
		char str_head_2[] = {"| TASK NAME           | ABS TIME |              TASK TIME% |\n\r"};
		strcat(msg.Buf, str_line);
		strcat(msg.Buf, str_head_2);

		memset(str_management_memory_str, 0, sizeof(str_management_memory_str));	// Clean buffer

		vTaskGetRunTimeStats(str_management_memory_str);							// Function return how much time all functions running.

		buffer_size = buffer_size + i + (sizeof(str_line)-1) + (sizeof(str_head_2)-1);           // НЕ ВИВОДИТЬ СТРОКУ !!!!!!!!!!!!!!!!!! <<<<<<<<<<<<<<<<<<<
		for(i = 0; str_management_memory_str[i] != '\0'; i++)
		{
			// add data to queue
			msg.Buf[buffer_size + i] = str_management_memory_str[i];
	    }
		strcat(msg.Buf, "#########################################\n\r");

		osMessageQueuePut(UARTQueueHandle, &msg, 0, osWaitForever);					// Write data on queue (In will print on StartUART_Task task)
		//osDelay(1000);
  }
  /* USER CODE END StartShowResources */
}

void HAL_TIM_PeriodElapsedCallback(TIM_HandleTypeDef *htim)
{
  /* USER CODE BEGIN Callback 0 */
	if(htim->Instance == TIM3)
	{
		ulHighFreqebcyTimerTicks++;					// Update time tasks counter
	}

  /* USER CODE END Callback 0 */
  if (htim->Instance == TIM2) {
    HAL_IncTick();
  }
}

void Error_Handler(void)
{
  __disable_irq();
  while (1)
  {
  }
}

/************************ (C) COPYRIGHT STMicroelectronics *****END OF FILE****/

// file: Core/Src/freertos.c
/* USER CODE BEGIN Header */
/**
  ******************************************************************************
  * File Name          : freertos.c
  * Description        : Code for freertos applications
  ******************************************************************************
  * @attention
  *
  * <h2><center>&copy; Copyright (c) 2021 STMicroelectronics.
  * All rights reserved.</center></h2>
  *
  * This software component is licensed by ST under Ultimate Liberty license
  * SLA0044, the "License"; You may not use this file except in compliance with
  * the License. You may obtain a copy of the License at:
  *                             www.st.com/SLA0044
  *
  ******************************************************************************
  */
/* USER CODE END Header */

#include "FreeRTOS.h"
#include "task.h"
#include "main.h"

/* Hook prototypes */
void configureTimerForRunTimeStats(void);
unsigned long getRunTimeCounterValue(void);
void vApplicationStackOverflowHook(xTaskHandle xTask, signed char *pcTaskName);

/* USER CODE BEGIN 1 */
/* Functions needed when configGENERATE_RUN_TIME_STATS is on */
__weak void configureTimerForRunTimeStats(void)
{

}

__weak unsigned long getRunTimeCounterValue(void)
{
return 0;
}
/* USER CODE END 1 */

/* USER CODE BEGIN 4 */
void vApplicationStackOverflowHook(xTaskHandle xTask, signed char *pcTaskName)
{
   /* Run time stack overflow checking is performed if
   configCHECK_FOR_STACK_OVERFLOW is defined to 1 or 2. This hook function is
   called if a stack overflow is detected. */
}
/* USER CODE END 4 */

/************************ (C) COPYRIGHT STMicroelectronics *****END OF FILE****/
